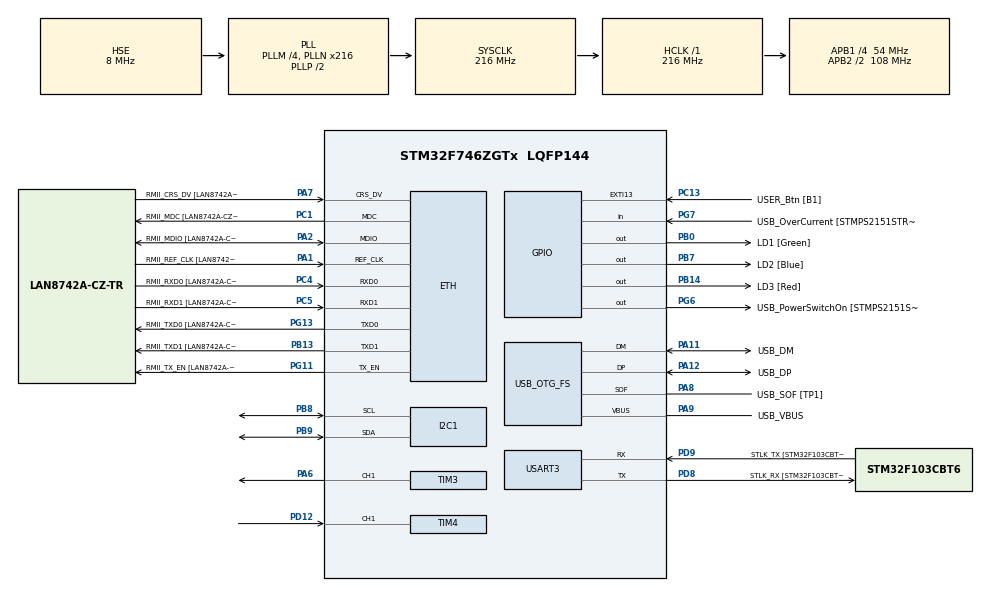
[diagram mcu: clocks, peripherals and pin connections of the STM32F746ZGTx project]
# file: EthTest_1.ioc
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CORTEX_M7.AccessPermission-Cortex_Memory_Protection_Unit_Region0_Settings=MPU_REGION_FULL_ACCESS
CORTEX_M7.BaseAddress-Cortex_Memory_Protection_Unit_Region0_Settings=0x2004C000
CORTEX_M7.CPU_DCache=Disabled
CORTEX_M7.CPU_ICache=Enabled
CORTEX_M7.Enable-Cortex_Memory_Protection_Unit_Region0_Settings=MPU_REGION_ENABLE
CORTEX_M7.IsShareable-Cortex_Memory_Protection_Unit_Region0_Settings=MPU_ACCESS_SHAREABLE
CORTEX_M7.MPU_Control=MPU_PRIVILEGED_DEFAULT
CORTEX_M7.Size-Cortex_Memory_Protection_Unit_Region0_Settings=MPU_REGION_SIZE_16KB
CORTEX_M7.TypeExtField-Cortex_Memory_Protection_Unit_Region0_Settings=MPU_TEX_LEVEL1
ETH.MediaInterface=HAL_ETH_RMII_MODE
ETH.PHY_Name=LAN8742A_PHY_ADDRESS
ETH.PHY_Value=0
ETH.PhyAddress=0
FREERTOS.Tasks01=defaultTask,24,256,StartDefaultTask,Default,NULL,Dynamic,NULL,NULL;dhcp_task,24,256,StartTaskDhcpCheck,Default,NULL,Dynamic,NULL,NULL
FREERTOS.configTOTAL_HEAP_SIZE=32768
I2C1.Timing=0x20404768
LWIP.BSP.number=1
LWIP.LWIP_BROADCAST_PING=1
LWIP.LWIP_HTTPD=1
LWIP.LWIP_HTTPD_CGI=0
LWIP.LWIP_HTTPD_CGI_SSI=0
LWIP.LWIP_HTTPD_CUSTOM_FILES=1
LWIP.LWIP_HTTPD_DYNAMIC_HEADERS=1
LWIP.LWIP_HTTPD_SSI=1
LWIP.LWIP_HTTPD_SUPPORT_POST=0
LWIP.LWIP_MULTICAST_PING=1
LWIP.MEM_SIZE=10240
LWIP.Version=v2.1.2_Cube
LWIP0.BSP.STBoard=false
LWIP0.BSP.api=BSP_COMPONENT_DRIVER
LWIP0.BSP.component=LAN8742
LWIP0.BSP.instance=LAN8742
LWIP0.BSP.name=Driver_PHY
LWIP0.BSP.semaphore=S_LAN8742
LWIP0.BSP.solution=LAN8742
Mcu.Family=STM32F7
Mcu.Name=STM32F746ZGTx
Mcu.Package=LQFP144
NVIC.ETH_IRQn=true\:5\:0\:false\:false\:true\:true\:false\:true\:true
NVIC.PriorityGroup=NVIC_PRIORITYGROUP_4
NVIC.TIM1_UP_TIM10_IRQn=true\:15\:0\:false\:false\:true\:false\:false\:true\:true
NVIC.TIM4_IRQn=true\:5\:0\:false\:false\:true\:true\:true\:true\:true
NVIC.TimeBase=TIM1_UP_TIM10_IRQn
NVIC.TimeBaseIP=TIM1
PA1.GPIO_Label=RMII_REF_CLK [LAN8742A-CZ-TR_REFCLK0]
PA1.Mode=RMII
PA1.Signal=ETH_REF_CLK
PA10.GPIO_Label=USB_ID
PA10.Signal=USB_OTG_FS_ID
PA11.GPIO_Label=USB_DM
PA11.Mode=Device_Only
PA11.Signal=USB_OTG_FS_DM
PA12.GPIO_Label=USB_DP
PA12.Mode=Device_Only
PA12.Signal=USB_OTG_FS_DP
PA13.GPIO_Label=TMS
PA13.Mode=Serial_Wire
PA13.Signal=SYS_JTMS-SWDIO
PA14.GPIO_Label=TCK
PA14.Mode=Serial_Wire
PA14.Signal=SYS_JTCK-SWCLK
PA2.GPIO_Label=RMII_MDIO [LAN8742A-CZ-TR_MDIO]
PA2.Mode=RMII
PA2.Signal=ETH_MDIO
PA6.Signal=S_TIM3_CH1
PA7.GPIO_Label=RMII_CRS_DV [LAN8742A-CZ-TR_CRS_DV]
PA7.Mode=RMII
PA7.Signal=ETH_CRS_DV
PA8.GPIO_Label=USB_SOF [TP1]
PA8.Mode=Activate_SOF_FS
PA8.Signal=USB_OTG_FS_SOF
PA9.GPIO_Label=USB_VBUS
PA9.Mode=Activate_VBUS
PA9.Signal=USB_OTG_FS_VBUS
PB0.GPIO_Label=LD1 [Green]
PB0.Signal=GPIO_Output
PB13.GPIO_Label=RMII_TXD1 [LAN8742A-CZ-TR_TXD1]
PB13.Mode=RMII
PB13.Signal=ETH_TXD1
PB14.GPIO_Label=LD3 [Red]
PB14.Signal=GPIO_Output
PB3.GPIO_Label=SW0
PB3.Signal=SYS_JTDO-SWO
PB7.GPIO_Label=LD2 [Blue]
PB7.Signal=GPIO_Output
PB8.Mode=I2C
PB8.Signal=I2C1_SCL
PB9.Mode=I2C
PB9.Signal=I2C1_SDA
PC1.GPIO_Label=RMII_MDC [LAN8742A-CZ-TR_MDC]
PC1.Mode=RMII
PC1.Signal=ETH_MDC
PC13.GPIO_Label=USER_Btn [B1]
PC13.Signal=GPXTI13
PC14/OSC32_IN.Mode=LSE-External-Oscillator
PC14/OSC32_IN.Signal=RCC_OSC32_IN
PC15/OSC32_OUT.Mode=LSE-External-Oscillator
PC15/OSC32_OUT.Signal=RCC_OSC32_OUT
PC4.GPIO_Label=RMII_RXD0 [LAN8742A-CZ-TR_RXD0]
PC4.Mode=RMII
PC4.Signal=ETH_RXD0
PC5.GPIO_Label=RMII_RXD1 [LAN8742A-CZ-TR_RXD1]
PC5.Mode=RMII
PC5.Signal=ETH_RXD1
PD12.Signal=S_TIM4_CH1
PD8.GPIO_Label=STLK_RX [STM32F103CBT6_PA3]
PD8.GPIO_PuPd=GPIO_PULLUP
PD8.Mode=Asynchronous
PD8.Signal=USART3_TX
PD9.GPIO_Label=STLK_TX [STM32F103CBT6_PA2]
PD9.GPIO_PuPd=GPIO_PULLUP
PD9.Mode=Asynchronous
PD9.Signal=USART3_RX
PG11.GPIO_Label=RMII_TX_EN [LAN8742A-CZ-TR_TXEN]
PG11.Mode=RMII
PG11.Signal=ETH_TX_EN
PG13.GPIO_Label=RMII_TXD0 [LAN8742A-CZ-TR_TXD0]
PG13.Mode=RMII
PG13.Signal=ETH_TXD0
PG6.GPIO_Label=USB_PowerSwitchOn [STMPS2151STR_EN]
PG6.Signal=GPIO_Output
PG7.GPIO_Label=USB_OverCurrent [STMPS2151STR_FAULT]
PG7.Signal=GPIO_Input
PH0/OSC_IN.GPIO_Label=MCO [STM32F103CBT6_PA8]
PH0/OSC_IN.Mode=HSE-External-Clock-Source
PH0/OSC_IN.Signal=RCC_OSC_IN
PH1/OSC_OUT.Mode=HSE-External-Clock-Source
PH1/OSC_OUT.Signal=RCC_OSC_OUT
ProjectManager.HeapSize=0x200
ProjectManager.StackSize=0x400
ProjectManager.TargetToolchain=CMake
RCC.48MHZClocksFreq_Value=24000000
RCC.AHBFreq_Value=216000000
RCC.APB1CLKDivider=RCC_HCLK_DIV4
RCC.APB1Freq_Value=54000000
RCC.APB1TimFreq_Value=108000000
RCC.APB2CLKDivider=RCC_HCLK_DIV2
RCC.APB2Freq_Value=108000000
RCC.APB2TimFreq_Value=216000000
RCC.CortexFreq_Value=216000000
RCC.HCLKFreq_Value=216000000
RCC.HSE_VALUE=8000000
RCC.HSI_VALUE=16000000
RCC.PLLM=4
RCC.PLLMUL=RCC_PLL_MUL9
RCC.PLLN=216
RCC.PLLQ=9
RCC.PRESCALERUSB=RCC_USBCLKSOURCE_PLL_DIV1_5
RCC.SYSCLKFreq_VALUE=216000000
RCC.SYSCLKSource=RCC_SYSCLKSOURCE_PLLCLK
RCC.SYSCLKSourceVirtual=RCC_SYSCLKSOURCE_PLLCLK
RCC.USBFreq_Value=48000000
RCC.VCOOutputFreq_Value=432000000
SH.S_TIM3_CH1.0=TIM3_CH1,PWM Generation1 CH1
SH.S_TIM4_CH1.0=TIM4_CH1,Input_Capture1_from_TI1
TIM3.AutoReloadPreload=TIM_AUTORELOAD_PRELOAD_ENABLE
TIM3.Channel-PWM\ Generation1\ CH1=TIM_CHANNEL_1
TIM3.Period=4999
TIM3.Prescaler=108
TIM3.Pulse-PWM\ Generation1\ CH1=1100
TIM4.Channel-Input_Capture1_from_TI1=TIM_CHANNEL_1
TIM4.Channel-Input_Capture2_from_TI1_63=TIM_CHANNEL_2
TIM4.ICPolarity_CH2=TIM_INPUTCHANNELPOLARITY_FALLING
TIM4.Period=4999
TIM4.Prescaler=108
USART3.VirtualMode-Asynchronous=VM_ASYNC
USB_OTG_FS.VirtualMode=Device_Only
VP_FREERTOS_VS_CMSIS_V2.Mode=CMSIS_V2
VP_LWIP_VS_Enabled.Mode=Enabled
VP_SYS_VS_tim1.Mode=TIM1
VP_TIM4_VS_indirect_ch1.Mode=Input_Capture2_from_TI1_63
board=NUCLEO-F746ZG

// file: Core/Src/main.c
/* USER CODE BEGIN Header */
/**
  ******************************************************************************
  * @file           : main.c
  * @brief          : Main program body
  ******************************************************************************
  * @attention
  *
  * Copyright (c) 2026 STMicroelectronics.
  * All rights reserved.
  *
  * This software is licensed under terms that can be found in the LICENSE file
  * in the root directory of this software component.
  * If no LICENSE file comes with this software, it is provided AS-IS.
  *
  ******************************************************************************
  */
/* USER CODE END Header */
#include "main.h"
#include "cmsis_os.h"
#include "lwip.h"

/* USER CODE BEGIN Includes */
#include "lwip/apps/httpd.h"

#include "timers.h"
/* USER CODE END Includes */

I2C_HandleTypeDef hi2c1;

TIM_HandleTypeDef htim3;
TIM_HandleTypeDef htim4;

UART_HandleTypeDef huart3;

PCD_HandleTypeDef hpcd_USB_OTG_FS;

/* Definitions for defaultTask */
osThreadId_t defaultTaskHandle;
const osThreadAttr_t defaultTask_attributes = {
  .name = "defaultTask",
  .stack_size = 256 * 4,
  .priority = (osPriority_t) osPriorityNormal,
};
/* Definitions for dhcp_task */
osThreadId_t dhcp_taskHandle;
const osThreadAttr_t dhcp_task_attributes = {
  .name = "dhcp_task",
  .stack_size = 256 * 4,
  .priority = (osPriority_t) osPriorityNormal,
};
/* USER CODE BEGIN PV */
extern const char *ssi_tags[];
// extern const tCGI api_handlers[];
u16_t ssi_handler(int iIndex, char *pcInsert, int iInsertLen);

/* USER CODE END PV */

void SystemClock_Config(void);
static void MPU_Config(void);
static void MX_GPIO_Init(void);
static void MX_I2C1_Init(void);
static void MX_USART3_UART_Init(void);
static void MX_USB_OTG_FS_PCD_Init(void);
static void MX_TIM3_Init(void);
static void MX_TIM4_Init(void);
void StartDefaultTask(void *argument);
void StartTaskDhcpCheck(void *argument);

/* USER CODE BEGIN 0 */
int __io_putchar(int ch) {
  HAL_UART_Transmit(&huart3, (uint8_t *) &ch, 1, 0xFFFF);
  return ch;
}
/* USER CODE END 0 */

int main(void)
{

  /* MPU Configuration--------------------------------------------------------*/
  MPU_Config();

  /* Enable the CPU Cache */

  /* Enable I-Cache---------------------------------------------------------*/
  SCB_EnableICache();

  /* MCU Configuration--------------------------------------------------------*/

  /* Reset of all peripherals, Initializes the Flash interface and the Systick. */
  HAL_Init();

  /* USER CODE BEGIN Init */
  //SCB_DisableDCache();
  /* USER CODE END Init */

  /* Configure the system clock */
  SystemClock_Config();

  /* Initialize all configured peripherals */
  MX_GPIO_Init();
  MX_I2C1_Init();
  MX_USART3_UART_Init();
  MX_USB_OTG_FS_PCD_Init();
  MX_TIM3_Init();
  MX_TIM4_Init();

  /* Init scheduler */
  osKernelInitialize();

  /* Create the thread(s) */
  /* creation of defaultTask */
  defaultTaskHandle = osThreadNew(StartDefaultTask, NULL, &defaultTask_attributes);

  /* creation of dhcp_task */
  dhcp_taskHandle = osThreadNew(StartTaskDhcpCheck, NULL, &dhcp_task_attributes);

  /* Start scheduler */
  osKernelStart();

  /* We should never get here as control is now taken by the scheduler */

  /* Infinite loop */
  while (1)
  {

  }
}

void SystemClock_Config(void)
{
  RCC_OscInitTypeDef RCC_OscInitStruct = {0};
  RCC_ClkInitTypeDef RCC_ClkInitStruct = {0};

  /** Configure LSE Drive Capability
  */
  HAL_PWR_EnableBkUpAccess();

  /** Configure the main internal regulator output voltage
  */
  __HAL_RCC_PWR_CLK_ENABLE();
  __HAL_PWR_VOLTAGESCALING_CONFIG(PWR_REGULATOR_VOLTAGE_SCALE1);

  /** Initializes the RCC Oscillators according to the specified parameters
  * in the RCC_OscInitTypeDef structure.
  */
  RCC_OscInitStruct.OscillatorType = RCC_OSCILLATORTYPE_HSE;
  RCC_OscInitStruct.HSEState = RCC_HSE_BYPASS;
  RCC_OscInitStruct.PLL.PLLState = RCC_PLL_ON;
  RCC_OscInitStruct.PLL.PLLSource = RCC_PLLSOURCE_HSE;
  RCC_OscInitStruct.PLL.PLLM = 4;
  RCC_OscInitStruct.PLL.PLLN = 216;
  RCC_OscInitStruct.PLL.PLLP = RCC_PLLP_DIV2;
  RCC_OscInitStruct.PLL.PLLQ = 9;
  if (HAL_RCC_OscConfig(&RCC_OscInitStruct) != HAL_OK)
  {
    Error_Handler();
  }

  /** Activate the Over-Drive mode
  */
  if (HAL_PWREx_EnableOverDrive() != HAL_OK)
  {
    Error_Handler();
  }

  /** Initializes the CPU, AHB and APB buses clocks
  */
  RCC_ClkInitStruct.ClockType = RCC_CLOCKTYPE_HCLK|RCC_CLOCKTYPE_SYSCLK
                              |RCC_CLOCKTYPE_PCLK1|RCC_CLOCKTYPE_PCLK2;
  RCC_ClkInitStruct.SYSCLKSource = RCC_SYSCLKSOURCE_PLLCLK;
  RCC_ClkInitStruct.AHBCLKDivider = RCC_SYSCLK_DIV1;
  RCC_ClkInitStruct.APB1CLKDivider = RCC_HCLK_DIV4;
  RCC_ClkInitStruct.APB2CLKDivider = RCC_HCLK_DIV2;

  if (HAL_RCC_ClockConfig(&RCC_ClkInitStruct, FLASH_LATENCY_7) != HAL_OK)
  {
    Error_Handler();
  }
}

static void MX_I2C1_Init(void)
{

  hi2c1.Instance = I2C1;
  hi2c1.Init.Timing = 0x20404768;
  hi2c1.Init.OwnAddress1 = 0;
  hi2c1.Init.AddressingMode = I2C_ADDRESSINGMODE_7BIT;
  hi2c1.Init.DualAddressMode = I2C_DUALADDRESS_DISABLE;
  hi2c1.Init.OwnAddress2 = 0;
  hi2c1.Init.OwnAddress2Masks = I2C_OA2_NOMASK;
  hi2c1.Init.GeneralCallMode = I2C_GENERALCALL_DISABLE;
  hi2c1.Init.NoStretchMode = I2C_NOSTRETCH_DISABLE;
  if (HAL_I2C_Init(&hi2c1) != HAL_OK)
  {
    Error_Handler();
  }

  /** Configure Analogue filter
  */
  if (HAL_I2CEx_ConfigAnalogFilter(&hi2c1, I2C_ANALOGFILTER_ENABLE) != HAL_OK)
  {
    Error_Handler();
  }

  /** Configure Digital filter
  */
  if (HAL_I2CEx_ConfigDigitalFilter(&hi2c1, 0) != HAL_OK)
  {
    Error_Handler();
  }

}

static void MX_TIM3_Init(void)
{

  TIM_MasterConfigTypeDef sMasterConfig = {0};
  TIM_OC_InitTypeDef sConfigOC = {0};

  htim3.Instance = TIM3;
  htim3.Init.Prescaler = 108;
  htim3.Init.CounterMode = TIM_COUNTERMODE_UP;
  htim3.Init.Period = 4999;
  htim3.Init.ClockDivision = TIM_CLOCKDIVISION_DIV1;
  htim3.Init.AutoReloadPreload = TIM_AUTORELOAD_PRELOAD_ENABLE;
  if (HAL_TIM_PWM_Init(&htim3) != HAL_OK)
  {
    Error_Handler();
  }
  sMasterConfig.MasterOutputTrigger = TIM_TRGO_RESET;
  sMasterConfig.MasterSlaveMode = TIM_MASTERSLAVEMODE_DISABLE;
  if (HAL_TIMEx_MasterConfigSynchronization(&htim3, &sMasterConfig) != HAL_OK)
  {
    Error_Handler();
  }
  sConfigOC.OCMode = TIM_OCMODE_PWM1;
  sConfigOC.Pulse = 4300;
  sConfigOC.OCPolarity = TIM_OCPOLARITY_HIGH;
  sConfigOC.OCFastMode = TIM_OCFAST_DISABLE;
  if (HAL_TIM_PWM_ConfigChannel(&htim3, &sConfigOC, TIM_CHANNEL_1) != HAL_OK)
  {
    Error_Handler();
  }
  HAL_TIM_MspPostInit(&htim3);

}

static void MX_TIM4_Init(void)
{

  TIM_MasterConfigTypeDef sMasterConfig = {0};
  TIM_IC_InitTypeDef sConfigIC = {0};

  htim4.Instance = TIM4;
  htim4.Init.Prescaler = 108;
  htim4.Init.CounterMode = TIM_COUNTERMODE_UP;
  htim4.Init.Period = 65535;
  htim4.Init.ClockDivision = TIM_CLOCKDIVISION_DIV1;
  htim4.Init.AutoReloadPreload = TIM_AUTORELOAD_PRELOAD_DISABLE;
  if (HAL_TIM_IC_Init(&htim4) != HAL_OK)
  {
    Error_Handler();
  }
  sMasterConfig.MasterOutputTrigger = TIM_TRGO_RESET;
  sMasterConfig.MasterSlaveMode = TIM_MASTERSLAVEMODE_DISABLE;
  if (HAL_TIMEx_MasterConfigSynchronization(&htim4, &sMasterConfig) != HAL_OK)
  {
    Error_Handler();
  }
  sConfigIC.ICPolarity = TIM_INPUTCHANNELPOLARITY_RISING;
  sConfigIC.ICSelection = TIM_ICSELECTION_DIRECTTI;
  sConfigIC.ICPrescaler = TIM_ICPSC_DIV1;
  sConfigIC.ICFilter = 0;
  if (HAL_TIM_IC_ConfigChannel(&htim4, &sConfigIC, TIM_CHANNEL_1) != HAL_OK)
  {
    Error_Handler();
  }
  sConfigIC.ICPolarity = TIM_INPUTCHANNELPOLARITY_FALLING;
  sConfigIC.ICSelection = TIM_ICSELECTION_INDIRECTTI;
  if (HAL_TIM_IC_ConfigChannel(&htim4, &sConfigIC, TIM_CHANNEL_2) != HAL_OK)
  {
    Error_Handler();
  }
  /* USER CODE BEGIN TIM4_Init 2 */
  TIM_SlaveConfigTypeDef sSlaveConfig = {0};
  sSlaveConfig.SlaveMode = TIM_SLAVEMODE_RESET;      // Режим сброса
  sSlaveConfig.InputTrigger = TIM_TS_TI1FP1;         // Триггер от входа канала 1
  sSlaveConfig.TriggerPolarity = TIM_TRIGGERPOLARITY_RISING;
  sSlaveConfig.TriggerFilter = 0;
  if (HAL_TIM_SlaveConfigSynchro(&htim4, &sSlaveConfig) != HAL_OK)
  {
    Error_Handler();
  }
  /* USER CODE END TIM4_Init 2 */

}

static void MX_USART3_UART_Init(void)
{

  huart3.Instance = USART3;
  huart3.Init.BaudRate = 115200;
  huart3.Init.WordLength = UART_WORDLENGTH_8B;
  huart3.Init.StopBits = UART_STOPBITS_1;
  huart3.Init.Parity = UART_PARITY_NONE;
  huart3.Init.Mode = UART_MODE_TX_RX;
  huart3.Init.HwFlowCtl = UART_HWCONTROL_NONE;
  huart3.Init.OverSampling = UART_OVERSAMPLING_16;
  huart3.Init.OneBitSampling = UART_ONE_BIT_SAMPLE_DISABLE;
  huart3.AdvancedInit.AdvFeatureInit = UART_ADVFEATURE_NO_INIT;
  if (HAL_UART_Init(&huart3) != HAL_OK)
  {
    Error_Handler();
  }

}

static void MX_USB_OTG_FS_PCD_Init(void)
{

  hpcd_USB_OTG_FS.Instance = USB_OTG_FS;
  hpcd_USB_OTG_FS.Init.dev_endpoints = 6;
  hpcd_USB_OTG_FS.Init.speed = PCD_SPEED_FULL;
  hpcd_USB_OTG_FS.Init.dma_enable = DISABLE;
  hpcd_USB_OTG_FS.Init.phy_itface = PCD_PHY_EMBEDDED;
  hpcd_USB_OTG_FS.Init.Sof_enable = ENABLE;
  hpcd_USB_OTG_FS.Init.low_power_enable = DISABLE;
  hpcd_USB_OTG_FS.Init.lpm_enable = DISABLE;
  hpcd_USB_OTG_FS.Init.vbus_sensing_enable = ENABLE;
  hpcd_USB_OTG_FS.Init.use_dedicated_ep1 = DISABLE;
  if (HAL_PCD_Init(&hpcd_USB_OTG_FS) != HAL_OK)
  {
    Error_Handler();
  }

}

static void MX_GPIO_Init(void)
{
  GPIO_InitTypeDef GPIO_InitStruct = {0};

  /* GPIO Ports Clock Enable */
  __HAL_RCC_GPIOC_CLK_ENABLE();
  __HAL_RCC_GPIOH_CLK_ENABLE();
  __HAL_RCC_GPIOA_CLK_ENABLE();
  __HAL_RCC_GPIOB_CLK_ENABLE();
  __HAL_RCC_GPIOD_CLK_ENABLE();
  __HAL_RCC_GPIOG_CLK_ENABLE();

  /*Configure GPIO pin Output Level */
  HAL_GPIO_WritePin(GPIOB, LD1_Pin|LD3_Pin|LD2_Pin, GPIO_PIN_RESET);

  /*Configure GPIO pin Output Level */
  HAL_GPIO_WritePin(USB_PowerSwitchOn_GPIO_Port, USB_PowerSwitchOn_Pin, GPIO_PIN_RESET);

  /*Configure GPIO pin : USER_Btn_Pin */
  GPIO_InitStruct.Pin = USER_Btn_Pin;
  GPIO_InitStruct.Mode = GPIO_MODE_IT_RISING;
  GPIO_InitStruct.Pull = GPIO_NOPULL;
  HAL_GPIO_Init(USER_Btn_GPIO_Port, &GPIO_InitStruct);

  /*Configure GPIO pins : LD1_Pin LD3_Pin LD2_Pin */
  GPIO_InitStruct.Pin = LD1_Pin|LD3_Pin|LD2_Pin;
  GPIO_InitStruct.Mode = GPIO_MODE_OUTPUT_PP;
  GPIO_InitStruct.Pull = GPIO_NOPULL;
  GPIO_InitStruct.Speed = GPIO_SPEED_FREQ_LOW;
  HAL_GPIO_Init(GPIOB, &GPIO_InitStruct);

  /*Configure GPIO pin : USB_PowerSwitchOn_Pin */
  GPIO_InitStruct.Pin = USB_PowerSwitchOn_Pin;
  GPIO_InitStruct.Mode = GPIO_MODE_OUTPUT_PP;
  GPIO_InitStruct.Pull = GPIO_NOPULL;
  GPIO_InitStruct.Speed = GPIO_SPEED_FREQ_LOW;
  HAL_GPIO_Init(USB_PowerSwitchOn_GPIO_Port, &GPIO_InitStruct);

  /*Configure GPIO pin : USB_OverCurrent_Pin */
  GPIO_InitStruct.Pin = USB_OverCurrent_Pin;
  GPIO_InitStruct.Mode = GPIO_MODE_INPUT;
  GPIO_InitStruct.Pull = GPIO_NOPULL;
  HAL_GPIO_Init(USB_OverCurrent_GPIO_Port, &GPIO_InitStruct);

}
static uint32_t pwm = 0;
/* USER CODE BEGIN 4 */
void HAL_TIM_IC_CaptureCallback(TIM_HandleTypeDef *htim)
{
  if (htim->Instance == TIM4)
  {
    // 1. Обработка КАНАЛА 1 (Период / Частота)
    if (htim->Channel == HAL_TIM_ACTIVE_CHANNEL_1)
    {
      // Получаем значение периода (в тиках таймера)
      uint32_t period_ticks = HAL_TIM_ReadCapturedValue(htim, TIM_CHANNEL_1);
      printf("period_ticks: %u us\r\n", period_ticks+1);
    }

    // 2. Обработка КАНАЛА 2 (Длительность импульса / Pulse Width)
    else if (htim->Channel == HAL_TIM_ACTIVE_CHANNEL_2)
    {
      // Получаем значение длительности импульса (в тиках таймера)
      pwm = HAL_TIM_ReadCapturedValue(htim, TIM_CHANNEL_2);
      printf("pwm: %d us\r\n", pwm+1);

      // Если вы настроили PSC так, что 1 тик = 1 мкс,
      // то pulse_width_ticks — это и есть ваши микросекунды (1100...4300)
    }
  }
}
/* USER CODE END 4 */

void StartDefaultTask(void *argument)
{
  /* init code for LWIP */
  MX_LWIP_Init();
  /* USER CODE BEGIN 5 */
  // HAL_TIM_PWM_Start(&htim3, TIM_CHANNEL_1);
  // HAL_TIM_IC_Start_IT(&htim4, TIM_CHANNEL_1);
  // HAL_TIM_IC_Start_IT(&htim4, TIM_CHANNEL_2);
  httpd_init();
  //http_set_ssi_handler(ssi_handler, ssi_tags, 1);
  // http_set_cgi_handlers(api_handlers, 2);

  // motorQueueHandle = osMessageQueueNew(10, sizeof(MotorCommand_t), NULL);
  // osThreadNew(MotorTask, NULL, &motorTask_attributes);

  /* Infinite loop */
  for(;;)
  {
    osDelay(1000);
  }
  /* USER CODE END 5 */
}

/* USER CODE BEGIN Header_StartTaskDhcpCheck */
/**
* @brief Function implementing the dhcp_task thread.
* @param argument: Not used
* @retval None
*/
#include "lwip/netif.h"
extern struct netif gnetif;
/* USER CODE END Header_StartTaskDhcpCheck */
void StartTaskDhcpCheck(void *argument)
{
  /* USER CODE BEGIN StartTaskDhcpCheck */
  /* Infinite loop */
  for(;;)
  {
    // Проверяем, поднят ли сетевой интерфейс и получен ли валидный IP
    if (netif_is_up(&gnetif) && gnetif.ip_addr.addr != 0)
    {
      uint8_t ip[4];
      ip[0] = ip4_addr1(&gnetif.ip_addr);
      ip[1] = ip4_addr2(&gnetif.ip_addr);
      ip[2] = ip4_addr3(&gnetif.ip_addr);
      ip[3] = ip4_addr4(&gnetif.ip_addr);

      printf("DHCP IP: %d.%d.%d.%d\r\n", ip[0], ip[1], ip[2], ip[3]);

      osStatus_t status;
      status = osThreadTerminate(dhcp_taskHandle);
      if (status == osOK) {
        // Задача успешно удалена.
        // ВАЖНО: обнулите хендл, чтобы не попытаться обратиться к нему снова.
        dhcp_taskHandle = NULL;
      }
    }
    else
    {
      osDelay(500); // Ждем получения IP
    }
  }
  /* USER CODE END StartTaskDhcpCheck */
}

 /* MPU Configuration */

void MPU_Config(void)
{
  MPU_Region_InitTypeDef MPU_InitStruct = {0};

  /* Disables the MPU */
  HAL_MPU_Disable();

  /** Initializes and configures the Region and the memory to be protected
  */
  MPU_InitStruct.Enable = MPU_REGION_ENABLE;
  MPU_InitStruct.Number = MPU_REGION_NUMBER0;
  MPU_InitStruct.BaseAddress = 0x2004C000;
  MPU_InitStruct.Size = MPU_REGION_SIZE_16KB;
  MPU_InitStruct.SubRegionDisable = 0x0;
  MPU_InitStruct.TypeExtField = MPU_TEX_LEVEL1;
  MPU_InitStruct.AccessPermission = MPU_REGION_FULL_ACCESS;
  MPU_InitStruct.DisableExec = MPU_INSTRUCTION_ACCESS_ENABLE;
  MPU_InitStruct.IsShareable = MPU_ACCESS_SHAREABLE;
  MPU_InitStruct.IsCacheable = MPU_ACCESS_NOT_CACHEABLE;
  MPU_InitStruct.IsBufferable = MPU_ACCESS_NOT_BUFFERABLE;

  HAL_MPU_ConfigRegion(&MPU_InitStruct);
  /* Enables the MPU */
  HAL_MPU_Enable(MPU_PRIVILEGED_DEFAULT);

}

void HAL_TIM_PeriodElapsedCallback(TIM_HandleTypeDef *htim)
{
  if (htim->Instance == TIM1)
  {
    HAL_IncTick();
  }
}

void Error_Handler(void)
{
  __disable_irq();
  while (1)
  {
  }
}
